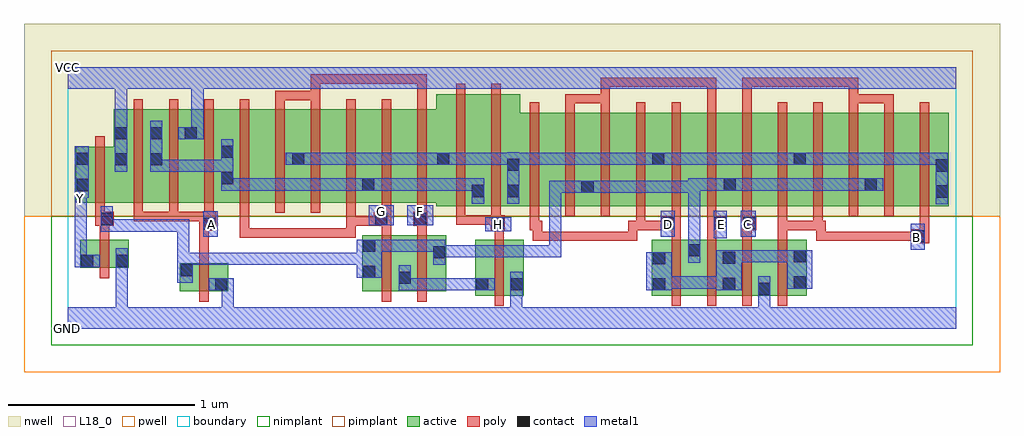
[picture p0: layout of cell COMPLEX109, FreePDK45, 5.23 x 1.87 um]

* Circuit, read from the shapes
.subckt COMPLEX109 A B C D E F G GND H VCC Y
M1 GND n1 Y VSUBS nfet w=0.15u l=0.05u
M2 GND A n1 VSUBS nfet w=0.15u l=0.05u
M3 n2 G n1 VSUBS nfet w=0.3u l=0.05u
M4 n1 F n2 VSUBS nfet w=0.3u l=0.05u
M5 GND H n2 VSUBS nfet w=0.3u l=0.05u
M6 n1 D n3 VSUBS nfet w=0.3u l=0.05u
M7 n3 E n1 VSUBS nfet w=0.3u l=0.05u
M8 GND C n3 VSUBS nfet w=0.3u l=0.05u
M9 n3 B GND VSUBS nfet w=0.3u l=0.05u
M10 VCC n1 Y n4 pfet w=0.3u l=0.05u
M11 n5 A VCC n4 pfet w=0.5u l=0.05u m=3
M12 n6 G n5 n4 pfet w=0.5u l=0.05u
M13 n7 F n6 n4 pfet w=0.5u l=0.05u
M14 n8 F n7 n4 pfet w=0.5u l=0.05u
M15 n5 G n8 n4 pfet w=0.5u l=0.05u
M16 n9 G n5 n4 pfet w=0.5u l=0.05u
M17 n7 F n9 n4 pfet w=0.5u l=0.05u
M18 n5 H n7 n4 pfet w=0.6u l=0.05u m=2
M19 n10 D n7 n4 pfet w=0.5u l=0.05u
M20 n1 E n10 n4 pfet w=0.5u l=0.05u
M21 n11 E n1 n4 pfet w=0.5u l=0.05u
M22 n7 D n11 n4 pfet w=0.5u l=0.05u
M23 n12 D n7 n4 pfet w=0.5u l=0.05u
M24 n1 E n12 n4 pfet w=0.5u l=0.05u
M25 n13 C n1 n4 pfet w=0.5u l=0.05u
M26 n7 B n13 n4 pfet w=0.5u l=0.05u
M27 n14 B n7 n4 pfet w=0.5u l=0.05u
M28 n1 C n14 n4 pfet w=0.5u l=0.05u
M29 n15 C n1 n4 pfet w=0.5u l=0.05u
M30 n7 B n15 n4 pfet w=0.5u l=0.05u
.ends

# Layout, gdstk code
import gdstk
lib = gdstk.Library(unit=1e-6, precision=1e-09)
def R(c, l, rs):  # rectangles x0, y0, x1, y1
    for r in rs: c.add(gdstk.rectangle(r[:2], r[2:], *l))
def A(c, l, x, y, w, h, nx, ny, dx, dy):  # array of equal rectangles
    R(c, l, [(x+i*dx, y+j*dy, x+i*dx+w, y+j*dy+h) for i in range(nx) for j in range(ny)])
active = (1, 0)
pwell = (2, 0)
nwell = (3, 0)
nimplant = (4, 0)
pimplant = (5, 0)
poly = (9, 0)
contact = (10, 0)
metal1 = (11, 0)
L18_0 = (18, 0)
boundary = (235, 0)

complex109 = lib.new_cell('COMPLEX109')
A(complex109, active, 3.735, 0.657, 0.225, 0.5, 3, 1, 0.38, 0)
A(complex109, active, 0.437, 0.675, 0.075, 0.482, 3, 1, 0.38, 0)
R(complex109, active, [(2.182,0.177,2.442,0.477), (3.13,0.177,3.395,0.477), (3.32,0.177,3.58,0.477), (3.505,0.177,3.77,0.477), (3.695,0.177,3.96,0.477), (3.695,0.177,3.77,0.392), (0.6,0.2,0.86,0.35), (0.785,0.2,0.86,0.35), (1.577,0.2,1.842,0.5), (1.577,0.2,1.652,0.5), (1.767,0.2,2.027,0.5), (1.767,0.2,1.842,0.392), (2.182,0.2,2.257,0.477), (2.367,0.2,2.442,0.477), (3.13,0.2,3.205,0.477), (3.505,0.2,3.58,0.417), (3.885,0.2,3.96,0.477), (1.952,0.247,2.027,0.5), (3.32,0.247,3.395,0.457), (0.6,0.275,0.675,0.35), (0.067,0.325,0.142,0.475), (0.067,0.325,0.327,0.475), (0.252,0.325,0.327,0.475), (1.975,0.657,2.235,1.257), (2.16,0.657,2.235,1.07), (2.16,0.657,2.425,1.257), (2.35,0.657,2.595,1.157), (2.35,0.657,2.425,1.2), (2.595,0.657,2.822,1.157), (2.747,0.657,2.822,1.07), (2.747,0.657,2.975,1.157), (2.975,0.657,3.202,1.157), (3.127,0.657,3.355,1.157), (3.355,0.657,3.585,1.157), (3.51,0.657,3.735,1.157), (3.51,0.657,3.585,1.07), (3.885,0.657,3.96,1.157), (3.885,0.657,4.115,1.157), (4.265,0.657,4.495,1.157), (4.265,0.657,4.34,1.07), (4.645,0.657,4.72,1.157), (0.042,0.675,0.117,0.975), (0.042,0.675,0.322,0.975), (0.247,0.675,0.322,1.175), (0.247,0.675,0.512,1.175), (0.437,0.675,0.697,1.175), (0.622,0.675,0.697,1.175), (0.622,0.675,0.892,1.175), (0.817,0.675,1.042,1.175), (1.042,0.675,1.272,1.175), (1.197,0.675,1.422,1.175), (1.422,0.675,1.647,1.175), (1.572,0.675,1.802,1.175), (1.572,0.675,1.647,1.07), (1.802,0.675,2.05,1.175), (3.127,0.682,3.202,1.157), (1.975,0.782,2.05,1.2)])
R(complex109, pwell, [(-0.235,-0.235,4.995,0.602)])
R(complex109, nwell, [(-0.235,0.602,4.995,1.635)])
R(complex109, nimplant, [(-0.09,-0.09,4.85,0.602)])
R(complex109, pimplant, [(-0.09,0.602,4.85,1.49)])
A(complex109, poly, 3.235, 0.122, 0.05, 0.41, 4, 1, 0.19, 0)
A(complex109, poly, 3.235, 0.482, 0.05, 0.095, 4, 1, 0.19, 0)
A(complex109, poly, 3.235, 0.552, 0.05, 0.1, 3, 1, 0.19, 0)
A(complex109, poly, 0.352, 0.575, 0.05, 0.095, 3, 1, 0.19, 0)
A(complex109, poly, 2.475, 0.602, 0.05, 0.61, 12, 1, 0.19, 0)
A(complex109, poly, 0.352, 0.62, 0.05, 0.61, 9, 1, 0.19, 0)
R(complex109, poly, [(2.287,0.122,2.337,0.532), (0.705,0.145,0.755,0.405), (1.682,0.145,1.732,0.555), (1.872,0.145,1.922,0.555), (0.172,0.27,0.222,0.53), (0.705,0.355,0.755,0.575), (4.522,0.457,4.615,0.532), (2.492,0.47,2.542,0.577), (2.492,0.47,2.77,0.52), (2.72,0.47,2.77,0.52), (2.72,0.47,2.77,0.52), (2.72,0.47,2.77,0.52), (2.72,0.47,2.96,0.52), (2.91,0.47,2.96,0.52), (2.91,0.47,3.052,0.52), (3.002,0.47,3.052,0.577), (4.01,0.47,4.292,0.52), (4.01,0.47,4.06,0.577), (4.242,0.47,4.292,0.52), (4.242,0.47,4.44,0.52), (4.39,0.47,4.44,0.52), (4.39,0.47,4.44,0.52), (4.39,0.47,4.44,0.52), (4.39,0.47,4.572,0.52), (4.522,0.47,4.572,0.52), (4.522,0.47,4.572,0.52), (0.172,0.48,0.222,0.6), (2.287,0.482,2.337,0.577), (4.565,0.482,4.615,0.652), (0.922,0.487,0.972,0.537), (0.922,0.487,1.162,0.537), (0.922,0.487,0.972,0.67), (1.112,0.487,1.162,0.537), (1.112,0.487,1.162,0.537), (1.112,0.487,1.162,0.537), (1.112,0.487,1.295,0.537), (1.245,0.487,1.295,0.537), (1.245,0.487,1.295,0.537), (1.245,0.487,1.295,0.537), (1.245,0.487,1.542,0.537), (1.492,0.487,1.542,0.6), (1.682,0.505,1.732,0.6), (1.872,0.505,1.922,0.6), (0.705,0.525,0.795,0.625), (2.267,0.527,2.342,0.607), (2.475,0.527,2.525,0.577), (2.475,0.527,2.525,0.652), (2.475,0.527,2.542,0.577), (3.002,0.527,3.095,0.577), (3.045,0.527,3.095,0.577), (3.045,0.527,3.095,0.652), (3.045,0.527,3.232,0.577), (3.182,0.527,3.232,0.577), (3.182,0.527,3.232,0.577), (3.182,0.527,3.285,0.602), (3.425,0.527,3.532,0.602), (3.615,0.527,3.69,0.602), (3.805,0.527,3.855,0.577), (3.805,0.527,3.855,0.577), (3.805,0.527,3.855,0.577), (3.805,0.527,4.045,0.577), (3.805,0.527,3.855,0.652), (3.995,0.527,4.045,0.577), (3.995,0.527,4.06,0.577), (3.995,0.527,4.045,0.652), (0.147,0.55,0.245,0.625), (1.492,0.55,1.542,0.6), (1.492,0.55,1.542,0.6), (1.492,0.55,1.69,0.6), (1.492,0.55,1.542,0.67), (1.64,0.55,1.69,0.6), (1.64,0.55,1.69,0.6), (1.64,0.55,1.732,0.625), (1.85,0.55,1.925,0.625), (2.08,0.557,2.13,0.607), (2.08,0.557,2.13,0.652), (2.08,0.557,2.317,0.607), (2.267,0.557,2.317,0.607), (2.267,0.557,2.317,0.607), (2.27,0.557,2.32,0.652), (0.147,0.575,0.197,0.67), (0.352,0.575,0.402,0.625), (0.352,0.575,0.402,0.625), (0.352,0.575,0.402,0.625), (0.352,0.575,0.592,0.625), (0.542,0.575,0.592,0.625), (0.542,0.575,0.755,0.625), (0.705,0.575,0.755,0.625), (0.705,0.575,0.755,0.625), (1.682,0.575,1.732,0.67), (1.872,0.575,1.922,0.67), (2.08,0.602,2.13,1.312), (2.27,0.602,2.32,1.312), (0.147,0.62,0.197,1.03), (2.665,1.162,2.715,1.257), (2.855,1.162,2.905,1.257), (3.425,1.162,3.475,1.345), (3.615,1.162,3.665,1.345), (4.185,1.162,4.235,1.257), (4.375,1.162,4.425,1.257), (1.112,1.18,1.162,1.275), (1.302,1.18,1.352,1.275), (1.872,1.18,1.922,1.362), (2.665,1.207,2.715,1.257), (2.665,1.207,2.872,1.257), (2.822,1.207,2.872,1.257), (2.822,1.207,2.905,1.257), (2.855,1.207,2.905,1.345), (4.185,1.207,4.235,1.257), (4.185,1.207,4.235,1.257), (4.185,1.207,4.425,1.257), (4.185,1.207,4.235,1.345), (4.375,1.207,4.425,1.257), (1.112,1.225,1.162,1.275), (1.112,1.225,1.352,1.275), (1.302,1.225,1.352,1.275), (1.302,1.225,1.352,1.275), (1.302,1.225,1.352,1.362), (2.855,1.295,3.005,1.345), (2.955,1.295,3.005,1.345), (2.955,1.295,3.092,1.345), (3.042,1.295,3.092,1.345), (3.042,1.295,3.342,1.345), (3.292,1.295,3.342,1.345), (3.292,1.295,3.342,1.345), (3.292,1.295,3.342,1.345), (3.292,1.295,3.475,1.345), (3.425,1.295,3.475,1.345), (3.425,1.295,3.475,1.345), (3.425,1.295,3.475,1.345), (3.615,1.295,3.665,1.345), (3.615,1.295,3.665,1.345), (3.615,1.295,3.665,1.345), (3.615,1.295,3.912,1.345), (3.862,1.295,3.912,1.345), (3.862,1.295,3.912,1.345), (3.862,1.295,3.912,1.345), (3.862,1.295,4.102,1.345), (4.052,1.295,4.102,1.345), (4.052,1.295,4.102,1.345), (4.052,1.295,4.102,1.345), (4.052,1.295,4.235,1.345), (1.302,1.312,1.557,1.362), (1.507,1.312,1.557,1.362), (1.507,1.312,1.557,1.362), (1.507,1.312,1.557,1.362), (1.507,1.312,1.69,1.362), (1.64,1.312,1.69,1.362), (1.64,1.312,1.69,1.362), (1.64,1.312,1.69,1.362), (1.64,1.312,1.922,1.362), (1.872,1.312,1.922,1.362), (1.872,1.312,1.922,1.362), (1.872,1.312,1.922,1.362)])
R(complex109, contact, [(3.7,0.182,3.765,0.247), (0.79,0.205,0.855,0.27), (2.187,0.205,2.252,0.27), (2.372,0.205,2.437,0.27), (3.135,0.205,3.2,0.27), (3.51,0.207,3.575,0.272), (3.89,0.215,3.955,0.28), (1.772,0.24,1.837,0.305), (1.582,0.272,1.647,0.337), (0.605,0.28,0.67,0.345), (0.072,0.33,0.137,0.395), (0.257,0.33,0.322,0.395), (3.135,0.345,3.2,0.41), (3.51,0.347,3.575,0.412), (3.89,0.355,3.955,0.42), (1.957,0.377,2.022,0.442), (3.325,0.387,3.39,0.452), (1.582,0.412,1.647,0.477), (4.527,0.462,4.592,0.527), (0.725,0.53,0.79,0.595), (2.272,0.532,2.337,0.597), (3.187,0.532,3.252,0.597), (3.462,0.532,3.527,0.597), (3.62,0.532,3.685,0.597), (0.175,0.555,0.24,0.62), (1.647,0.555,1.712,0.62), (1.855,0.555,1.92,0.62), (4.65,0.702,4.715,0.767), (2.165,0.705,2.23,0.77), (2.355,0.705,2.42,0.77), (2.752,0.727,2.817,0.792), (0.047,0.737,0.112,0.802), (1.577,0.74,1.642,0.805), (3.515,0.74,3.58,0.805), (4.27,0.74,4.335,0.805), (0.822,0.775,0.887,0.84), (4.65,0.842,4.715,0.907), (2.355,0.845,2.42,0.91), (0.252,0.875,0.317,0.94), (0.442,0.875,0.507,0.94), (0.047,0.877,0.112,0.942), (1.202,0.877,1.267,0.942), (1.98,0.877,2.045,0.942), (3.132,0.877,3.197,0.942), (3.89,0.877,3.955,0.942), (0.822,0.915,0.887,0.98), (0.252,1.015,0.317,1.08), (0.442,1.015,0.507,1.08), (0.627,1.015,0.692,1.08)])
R(complex109, metal1, [(0,0,4.76,0.115), (0.257,0.05,0.322,0.115), (0.257,0.05,0.322,0.115), (0.257,0.05,0.322,0.115), (0.257,0.05,0.322,0.115), (0.257,0.05,0.322,0.36), (0.825,0.05,0.89,0.115), (0.825,0.05,0.89,0.115), (0.825,0.05,0.89,0.27), (2.37,0.05,2.435,0.115), (2.37,0.05,2.435,0.115), (2.37,0.05,2.435,0.235), (3.7,0.05,3.765,0.115), (3.7,0.05,3.765,0.115), (3.7,0.05,3.765,0.212), (3.7,0.147,3.765,0.282), (2.37,0.17,2.437,0.305), (0.755,0.205,0.89,0.27), (0.825,0.205,0.89,0.27), (0.825,0.205,0.89,0.27), (1.772,0.205,1.837,0.27), (1.772,0.205,1.837,0.27), (1.772,0.205,1.837,0.34), (1.772,0.205,2.077,0.27), (2.012,0.205,2.077,0.27), (2.012,0.205,2.077,0.27), (2.012,0.205,2.077,0.27), (2.012,0.205,2.217,0.27), (2.152,0.205,2.287,0.27), (3.1,0.205,3.235,0.41), (3.475,0.207,3.61,0.42), (3.17,0.215,3.235,0.28), (3.17,0.215,3.235,0.28), (3.17,0.215,3.395,0.28), (3.33,0.215,3.395,0.28), (3.33,0.215,3.395,0.28), (3.33,0.215,3.395,0.28), (3.33,0.215,3.54,0.28), (3.855,0.215,3.99,0.42), (0.585,0.245,0.67,0.407), (1.547,0.272,1.682,0.477), (0.257,0.295,0.322,0.43), (0.037,0.33,0.172,0.395), (0.037,0.33,0.102,0.697), (0.585,0.342,0.65,0.585), (0.605,0.342,0.79,0.407), (0.725,0.342,0.79,0.407), (0.725,0.342,0.927,0.407), (0.862,0.342,0.927,0.407), (0.862,0.342,0.927,0.407), (0.862,0.342,0.927,0.407), (0.862,0.342,1.095,0.407), (1.03,0.342,1.095,0.407), (1.03,0.342,1.095,0.407), (1.03,0.342,1.095,0.407), (1.03,0.342,1.302,0.407), (1.237,0.342,1.44,0.407), (1.237,0.342,1.302,0.407), (1.237,0.342,1.302,0.407), (1.237,0.342,1.302,0.407), (1.375,0.342,1.44,0.407), (1.375,0.342,1.44,0.407), (1.375,0.342,1.44,0.407), (1.375,0.342,1.612,0.407), (1.957,0.342,2.022,0.477), (3.325,0.352,3.39,0.487), (3.545,0.355,3.67,0.42), (3.605,0.355,3.67,0.42), (3.605,0.355,3.782,0.42), (3.717,0.355,3.782,0.42), (3.717,0.355,3.807,0.42), (3.742,0.355,3.807,0.42), (3.742,0.355,3.92,0.42), (1.957,0.382,2.022,0.447), (1.957,0.382,2.022,0.447), (1.957,0.382,2.217,0.447), (2.152,0.382,2.355,0.447), (2.152,0.382,2.217,0.447), (2.152,0.382,2.217,0.447), (2.152,0.382,2.217,0.447), (2.29,0.382,2.355,0.447), (2.29,0.382,2.355,0.447), (2.29,0.382,2.355,0.447), (2.29,0.382,2.645,0.447), (2.58,0.382,2.645,0.447), (2.58,0.382,2.645,0.447), (2.58,0.382,2.645,0.447), (2.58,0.382,2.645,0.792), (1.617,0.412,1.682,0.477), (1.617,0.412,1.682,0.477), (1.617,0.412,1.872,0.477), (1.807,0.412,1.872,0.477), (1.807,0.412,1.872,0.477), (1.807,0.412,1.872,0.477), (1.807,0.412,2.022,0.477), (3.325,0.422,3.39,0.792), (4.517,0.422,4.592,0.562), (3.462,0.485,3.532,0.632), (0.725,0.492,0.802,0.63), (3.177,0.492,3.252,0.632), (3.607,0.492,3.685,0.632), (0.175,0.52,0.24,0.585), (0.175,0.52,0.24,0.585), (0.175,0.52,0.24,0.655), (0.175,0.52,0.452,0.585), (0.387,0.52,0.452,0.585), (0.387,0.52,0.452,0.585), (0.387,0.52,0.452,0.585), (0.387,0.52,0.65,0.585), (0.585,0.52,0.65,0.585), (0.585,0.52,0.65,0.585), (0.585,0.52,0.65,0.585), (2.237,0.522,2.377,0.597), (1.612,0.555,1.747,0.662), (1.82,0.555,1.957,0.662), (0.037,0.632,0.102,0.767), (4.65,0.667,4.715,0.942), (2.165,0.67,2.23,0.805), (2.355,0.67,2.42,0.945), (0.037,0.702,0.102,0.767), (0.037,0.702,0.112,0.977), (2.58,0.727,2.645,0.792), (2.58,0.727,2.645,0.792), (2.58,0.727,2.645,0.792), (2.58,0.727,2.782,0.792), (2.717,0.727,2.852,0.792), (2.787,0.727,2.852,0.792), (2.787,0.727,2.852,0.792), (2.787,0.727,3.025,0.792), (2.96,0.727,3.025,0.792), (2.96,0.727,3.025,0.792), (2.96,0.727,3.025,0.792), (2.96,0.727,3.252,0.792), (3.187,0.727,3.39,0.792), (3.187,0.727,3.252,0.792), (3.187,0.727,3.252,0.792), (3.187,0.727,3.252,0.792), (3.325,0.727,3.39,0.792), (3.325,0.727,3.39,0.792), (3.325,0.727,3.39,0.805), (0.822,0.74,0.887,1.015), (0.822,0.74,0.927,0.805), (0.862,0.74,0.927,0.805), (0.862,0.74,1.095,0.805), (1.03,0.74,1.095,0.805), (1.03,0.74,1.095,0.805), (1.03,0.74,1.095,0.805), (1.03,0.74,1.302,0.805), (1.237,0.74,1.302,0.805), (1.237,0.74,1.302,0.805), (1.237,0.74,1.302,0.805), (1.237,0.74,1.47,0.805), (1.405,0.74,1.47,0.805), (1.405,0.74,1.47,0.805), (1.405,0.74,1.47,0.805), (1.405,0.74,1.607,0.805), (1.542,0.74,1.677,0.805), (1.612,0.74,1.677,0.805), (1.612,0.74,1.677,0.805), (1.612,0.74,1.837,0.805), (1.772,0.74,1.837,0.805), (1.772,0.74,1.837,0.805), (1.772,0.74,1.837,0.805), (1.772,0.74,2.077,0.805), (2.012,0.74,2.077,0.805), (2.012,0.74,2.077,0.805), (2.012,0.74,2.077,0.805), (2.012,0.74,2.23,0.805), (3.325,0.74,3.39,0.805), (3.325,0.74,3.39,0.805), (3.325,0.74,3.545,0.805), (3.48,0.74,3.615,0.805), (3.55,0.74,3.67,0.805), (3.605,0.74,3.67,0.805), (3.605,0.74,3.782,0.805), (3.717,0.74,3.782,0.805), (3.717,0.74,3.807,0.805), (3.742,0.74,3.945,0.805), (3.742,0.74,3.807,0.805), (3.88,0.74,3.945,0.805), (3.88,0.74,3.945,0.805), (3.88,0.74,3.945,0.805), (3.88,0.74,4.127,0.805), (4.062,0.74,4.127,0.805), (4.062,0.74,4.127,0.805), (4.062,0.74,4.127,0.805), (4.062,0.74,4.3,0.805), (4.235,0.74,4.37,0.805), (0.252,0.84,0.317,1.115), (0.442,0.84,0.507,1.115), (0.442,0.84,0.59,0.905), (0.525,0.84,0.59,0.905), (0.525,0.84,0.645,0.905), (0.58,0.84,0.645,0.905), (0.58,0.84,0.787,0.905), (0.722,0.84,0.787,0.905), (0.722,0.84,0.887,0.905), (1.167,0.877,1.302,0.942), (1.237,0.877,1.302,0.942), (1.237,0.877,1.302,0.942), (1.237,0.877,1.47,0.942), (1.405,0.877,1.47,0.942), (1.405,0.877,1.47,0.942), (1.405,0.877,1.47,0.942), (1.405,0.877,1.7,0.942), (1.635,0.877,1.7,0.942), (1.635,0.877,1.7,0.942), (1.635,0.877,1.7,0.942), (1.635,0.877,1.87,0.942), (1.805,0.877,1.87,0.942), (1.805,0.877,1.87,0.942), (1.805,0.877,1.87,0.942), (1.805,0.877,2.01,0.942), (1.945,0.877,2.08,0.942), (2.012,0.877,2.077,0.942), (2.012,0.877,2.08,0.942), (2.015,0.877,2.217,0.942), (2.152,0.877,2.217,0.942), (2.152,0.877,2.217,0.942), (2.152,0.877,2.217,0.942), (2.152,0.877,2.42,0.942), (2.355,0.877,2.42,0.942), (2.355,0.877,2.42,0.942), (2.355,0.877,2.557,0.942), (2.492,0.877,2.557,0.942), (2.492,0.877,2.557,0.942), (2.492,0.877,2.557,0.942), (2.492,0.877,2.887,0.942), (2.822,0.877,3.025,0.942), (2.822,0.877,2.887,0.942), (2.822,0.877,2.887,0.942), (2.822,0.877,2.887,0.942), (2.96,0.877,3.025,0.942), (2.96,0.877,3.025,0.942), (2.96,0.877,3.025,0.942), (2.96,0.877,3.162,0.942), (3.097,0.877,3.232,0.942), (3.167,0.877,3.232,0.942), (3.167,0.877,3.232,0.942), (3.167,0.877,3.395,0.942), (3.33,0.877,3.395,0.942), (3.33,0.877,3.532,0.942), (3.467,0.877,3.67,0.942), (3.467,0.877,3.532,0.942), (3.467,0.877,3.532,0.942), (3.467,0.877,3.532,0.942), (3.605,0.877,3.67,0.942), (3.605,0.877,3.782,0.942), (3.717,0.877,3.782,0.942), (3.717,0.877,3.807,0.942), (3.742,0.877,3.807,0.942), (3.742,0.877,3.92,0.942), (3.855,0.877,3.99,0.942), (3.925,0.877,3.99,0.942), (3.925,0.877,3.99,0.942), (3.925,0.877,4.127,0.942), (4.062,0.877,4.127,0.942), (4.062,0.877,4.127,0.942), (4.062,0.877,4.127,0.942), (4.062,0.877,4.44,0.942), (4.375,0.877,4.44,0.942), (4.375,0.877,4.44,0.942), (4.375,0.877,4.44,0.942), (4.375,0.877,4.577,0.942), (4.512,0.877,4.715,0.942), (4.512,0.877,4.577,0.942), (4.512,0.877,4.577,0.942), (4.512,0.877,4.577,0.942), (0.592,1.015,0.727,1.08), (0.662,1.015,0.727,1.08), (0.662,1.015,0.727,1.08), (0.662,1.015,0.727,1.35), (0.252,1.05,0.317,1.35), (0,1.285,4.76,1.4), (0.252,1.285,0.317,1.35), (0.252,1.285,0.317,1.35)])
R(complex109, L18_0, [(0,0,4.76,0.115), (0.257,0.05,0.322,0.115), (0.257,0.05,0.322,0.115), (0.257,0.05,0.322,0.115), (0.257,0.05,0.322,0.115), (0.257,0.05,0.322,0.36), (0.825,0.05,0.89,0.115), (0.825,0.05,0.89,0.115), (0.825,0.05,0.89,0.27), (2.37,0.05,2.435,0.115), (2.37,0.05,2.435,0.115), (2.37,0.05,2.435,0.235), (3.7,0.05,3.765,0.115), (3.7,0.05,3.765,0.115), (3.7,0.05,3.765,0.212), (3.7,0.147,3.765,0.282), (2.37,0.17,2.437,0.305), (0.755,0.205,0.89,0.27), (0.825,0.205,0.89,0.27), (0.825,0.205,0.89,0.27), (0.257,0.295,0.322,0.43), (0.037,0.33,0.172,0.395), (0.037,0.33,0.102,0.697), (4.517,0.422,4.592,0.562), (4.517,0.457,4.582,0.522), (3.462,0.485,3.532,0.632), (0.725,0.492,0.802,0.63), (3.177,0.492,3.252,0.632), (3.607,0.492,3.685,0.632), (2.237,0.522,2.377,0.597), (0.737,0.527,0.802,0.592), (2.277,0.527,2.342,0.592), (3.187,0.527,3.252,0.592), (3.467,0.527,3.532,0.592), (3.607,0.527,3.672,0.592), (1.612,0.555,1.747,0.662), (1.82,0.555,1.957,0.662), (1.647,0.597,1.712,0.662), (1.857,0.597,1.922,0.662), (0.037,0.632,0.102,0.767), (0.037,0.667,0.102,0.732), (0.037,0.702,0.112,0.977), (0.037,0.702,0.102,0.767), (0.252,0.84,0.317,1.115), (0.592,1.015,0.727,1.08), (0.662,1.015,0.727,1.08), (0.662,1.015,0.727,1.08), (0.662,1.015,0.727,1.35), (0.252,1.05,0.317,1.35), (0,1.285,4.76,1.4), (0.252,1.285,0.317,1.35), (0.252,1.285,0.317,1.35)])
R(complex109, boundary, [(0,0,4.76,1.4)])
complex109.add(gdstk.Label('A', (0.77,0.56), layer=11, texttype=0))
complex109.add(gdstk.Label('B', (4.55,0.49), layer=11, texttype=0))
complex109.add(gdstk.Label('C', (3.64,0.56), layer=11, texttype=0))
complex109.add(gdstk.Label('D', (3.22,0.56), layer=11, texttype=0))
complex109.add(gdstk.Label('E', (3.5,0.56), layer=11, texttype=0))
complex109.add(gdstk.Label('F', (1.89,0.63), layer=11, texttype=0))
complex109.add(gdstk.Label('G', (1.68,0.63), layer=11, texttype=0))
complex109.add(gdstk.Label('H', (2.31,0.56), layer=11, texttype=0))
complex109.add(gdstk.Label('Y', (0.07,0.7), layer=11, texttype=0))
complex109.add(gdstk.Label('VCC', (0,1.4), layer=11, texttype=0))
complex109.add(gdstk.Label('GND', (0,0), layer=11, texttype=0))

lib.write_gds('COMPLEX109.gds')
